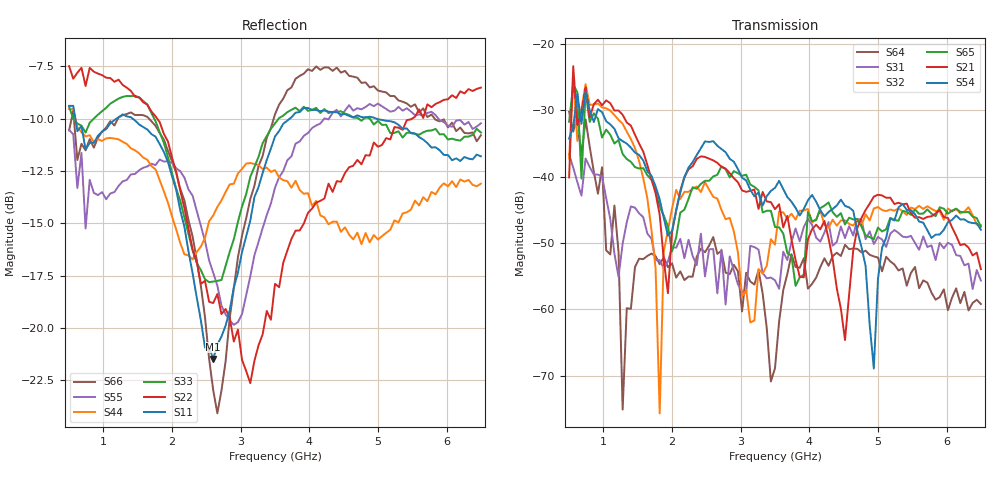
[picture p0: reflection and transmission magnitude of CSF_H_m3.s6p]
!Keysight Technologies,M9804A,MY58100912,A.14.10.03
!Date: Thursday, April 27, 2023 10:28:33
!Correction: S11(C  6-Port  )
!S12(C  6-Port  )
!S13(C  6-Port  )
!S14(C  6-Port  )
!S15(C  6-Port  )
!S16(C  6-Port  )
!S21(C  6-Port  )
!S22(C  6-Port  )
!S23(C  6-Port  )
!S24(C  6-Port  )
!S25(C  6-Port  )
!S26(C  6-Port  )
!S31(C  6-Port  )
!S32(C  6-Port  )
!S33(C  6-Port  )
!S34(C  6-Port  )
!S35(C  6-Port  )
!S36(C  6-Port  )
!S41(C  6-Port  )
!S42(C  6-Port  )
!S43(C  6-Port  )
!S44(C  6-Port  )
!S45(C  6-Port  )
!S46(C  6-Port  )
!S51(C  6-Port  )
!S52(C  6-Port  )
!S53(C  6-Port  )
!S54(C  6-Port  )
!S55(C  6-Port  )
!S56(C  6-Port  )
!S61(C  6-Port  )
!S62(C  6-Port  )
!S63(C  6-Port  )
!S64(C  6-Port  )
!S65(C  6-Port  )
!S66(C  6-Port  )
!S6P File: Measurement: :
# Hz S  RI  R 50
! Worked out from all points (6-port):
!   101 points, 500 MHz to 6.5 GHz, reference 50 ohm
!   strongest paths, dB at 500 MHz, 2 GHz, 3.5 GHz, 5 GHz, 6.5 GHz:
!     S54: -34.3, -48.2, -41.7, -55.5, -48.0
!     S21: -40.1, -48.3, -44.9, -42.7, -53.9
!     S65: -31.7, -51.3, -47.6, -47.7, -47.5
!     S32: -37.2, -44.8, -50.2, -44.6, -47.3
!     S31: -36.6, -50.6, -55.6, -49.1, -55.6
!     S64: -30.2, -53.1, -68.8, -52.2, -59.2
!   lowest |S11| = -21.5 dB at 2.6 GHz (marker M1), VSWR 1.18, Z = 42.5 + j2.17 ohm
!   |S11| at or under -10 dB: 590.3 MHz to 1.191 GHz (600.6 MHz wide, 67.4 % of centre); 1.426 GHz to 3.714 GHz (2.288 GHz wide, 89 % of centre); 4.978 GHz to end of sweep
